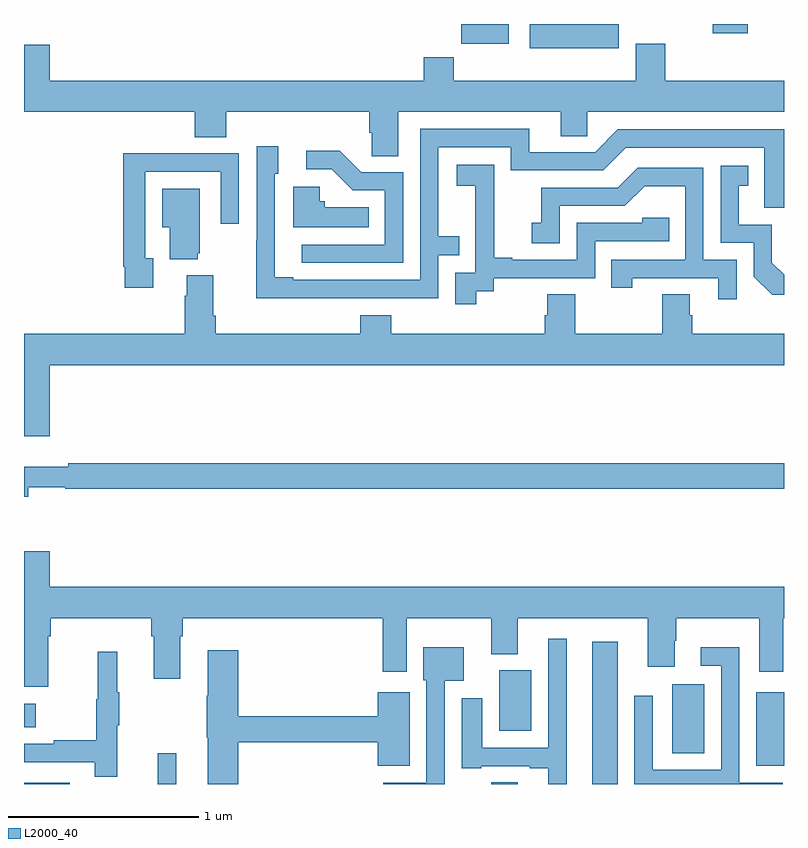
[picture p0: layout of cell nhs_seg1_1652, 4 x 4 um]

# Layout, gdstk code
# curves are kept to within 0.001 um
import gdstk
lib = gdstk.Library(unit=1e-6, precision=1e-09)
def R(c, l, rs):  # rectangles x0, y0, x1, y1
    for r in rs: c.add(gdstk.rectangle(r[:2], r[2:], *l))
def P(c, l, *ps):  # polygons
    for p in ps: c.add(gdstk.Polygon(p, *l))
L2000_40 = (2000, 40)

nhs_seg1_1652 = lib.new_cell('nhs_seg1_1652')
R(nhs_seg1_1652, L2000_40, [(201,544.199,201.24,544.206), (201.705,544.199,201.802,544.36), (203.459,544.199,203.599,544.208), (203.99,544.199,204.124,544.948), (204.854,544.295,205,544.681), (204.413,544.36,204.58,544.723), (203.501,544.478,203.671,544.798), (201,544.499,201.061,544.621), (203.661,548.072,204.13,548.199), (203.302,548.094,203.551,548.199), (204.626,548.151,204.809,548.199)])
P(nhs_seg1_1652, L2000_40, [(201.136,548.089),(201,548.089),(201,547.736),(201.899,547.736),(201.899,547.603),(202.064,547.603),(202.064,547.736),(202.817,547.736),(202.817,547.627),(202.83,547.627),(202.83,547.504),(202.969,547.504),(202.969,547.736),(203.825,547.736),(203.825,547.609),(203.964,547.609),(203.964,547.736),(205,547.736),(205,547.9),(204.374,547.9),(204.374,548.095),(204.221,548.095),(204.221,547.9),(203.261,547.9),(203.261,548.024),(203.105,548.024),(203.105,547.9),(201.136,547.9)],
  [(202.685,546.756),(203.181,546.756),(203.181,546.981),(203.291,546.981),(203.291,547.082),(203.181,547.082),(203.181,547.551),(203.562,547.551),(203.562,547.428),(204.048,547.428),(204.168,547.548),(204.897,547.548),(204.897,547.233),(205,547.233),(205,547.644),(204.126,547.644),(204.006,547.524),(203.659,547.524),(203.659,547.647),(203.085,547.647),(203.085,546.852),(202.417,546.852),(202.417,546.865),(202.32,546.865),(202.32,547.41),(202.339,547.41),(202.339,547.555),(202.224,547.555),(202.224,547.061),(202.222,547.061),(202.222,546.755)],
  [(202.995,547.419),(202.776,547.419),(202.663,547.532),(202.485,547.532),(202.485,547.434),(202.619,547.434),(202.73,547.323),(202.899,547.323),(202.899,547.038),(202.461,547.038),(202.461,546.942),(202.995,546.942)],
  [(201.679,546.966),(201.639,546.966),(201.639,547.422),(202.035,547.422),(202.035,547.149),(202.131,547.149),(202.131,547.518),(201.815,547.518),(201.815,547.52),(201.523,547.52),(201.523,546.922),(201.531,546.922),(201.531,546.81),(201.679,546.81)],
  [(203.38,546.793),(203.472,546.793),(203.472,546.861),(204.006,546.861),(204.006,547.056),(204.395,547.056),(204.395,547.179),(204.255,547.179),(204.255,547.152),(203.91,547.152),(203.91,546.957),(203.569,546.957),(203.569,546.97),(203.474,546.97),(203.474,547.253),(203.475,547.253),(203.475,547.459),(203.277,547.459),(203.277,547.349),(203.375,547.349),(203.375,547.121),(203.376,547.121),(203.376,546.891),(203.271,546.891),(203.271,546.723),(203.38,546.723)],
  [(205,546.878),(204.936,546.942),(204.936,547.143),(204.763,547.143),(204.763,547.347),(204.812,547.347),(204.812,547.453),(204.666,547.453),(204.666,547.047),(204.84,547.047),(204.84,546.87),(204.938,546.773),(205,546.773)],
  [(204.75,546.957),(204.576,546.957),(204.576,547.443),(204.23,547.443),(204.125,547.338),(203.722,547.338),(203.722,547.153),(203.673,547.153),(203.673,547.044),(203.82,547.044),(203.82,547.242),(204.162,547.242),(204.266,547.346),(204.48,547.346),(204.48,546.957),(204.091,546.957),(204.091,546.81),(204.202,546.81),(204.202,546.861),(204.653,546.861),(204.653,546.75),(204.75,546.75)],
  [(202.814,547.234),(202.584,547.234),(202.584,547.266),(202.557,547.266),(202.557,547.342),(202.418,547.342),(202.418,547.13),(202.814,547.13)],
  [(201.914,546.993),(201.925,546.993),(201.925,547.333),(201.728,547.333),(201.728,547.13),(201.767,547.13),(201.767,546.962),(201.914,546.962)],
  [(201.136,546.404),(205,546.404),(205,546.568),(204.518,546.568),(204.518,546.666),(204.505,546.666),(204.505,546.776),(204.358,546.776),(204.358,546.568),(203.901,546.568),(203.901,546.776),(203.753,546.776),(203.753,546.666),(203.741,546.666),(203.741,546.568),(202.934,546.568),(202.934,546.667),(202.769,546.667),(202.769,546.568),(202.01,546.568),(202.01,546.664),(201.997,546.664),(201.997,546.877),(201.857,546.877),(201.857,546.77),(201.845,546.77),(201.845,546.568),(201,546.568),(201,546.03),(201.136,546.03)],
  [(201.022,545.76),(201.218,545.76),(201.218,545.752),(205,545.752),(205,545.888),(201.232,545.888),(201.232,545.869),(201,545.869),(201,545.71),(201.022,545.71)],
  [(201.136,545.425),(201,545.425),(201,544.71),(201.127,544.71),(201.127,544.976),(201.14,544.976),(201.14,545.072),(201.671,545.072),(201.671,544.976),(201.683,544.976),(201.683,544.752),(201.823,544.752),(201.823,544.976),(201.836,544.976),(201.836,545.072),(202.889,545.072),(202.889,544.791),(203.014,544.791),(203.014,545.072),(203.459,545.072),(203.459,544.883),(203.599,544.883),(203.599,545.072),(204.284,545.072),(204.284,544.815),(204.424,544.815),(204.424,544.952),(204.432,544.952),(204.432,545.072),(204.869,545.072),(204.869,544.791),(204.995,544.791),(204.995,545.072),(205,545.072),(205,545.236),(201.136,545.236)],
  [(203.857,544.963),(203.76,544.963),(203.76,544.389),(203.413,544.389),(203.413,544.651),(203.303,544.651),(203.303,544.281),(203.407,544.281),(203.407,544.293),(203.663,544.293),(203.663,544.281),(203.759,544.281),(203.759,544.199),(203.857,544.199)],
  [(204.994,544.206),(204.765,544.206),(204.765,544.918),(204.561,544.918),(204.561,544.821),(204.669,544.821),(204.669,544.275),(204.309,544.275),(204.309,544.663),(204.213,544.663),(204.213,544.199),(204.994,544.199)],
  [(203.214,544.742),(203.314,544.742),(203.314,544.918),(203.102,544.918),(203.102,544.746),(203.118,544.746),(203.118,544.206),(202.89,544.206),(202.89,544.199),(203.214,544.199)],
  [(202.127,544.42),(202.862,544.42),(202.862,544.295),(203.029,544.295),(203.029,544.681),(202.862,544.681),(202.862,544.556),(202.127,544.556),(202.127,544.903),(201.968,544.903),(201.968,544.664),(201.961,544.664),(201.961,544.443),(201.968,544.443),(201.968,544.199),(202.127,544.199)],
  [(201.491,544.507),(201.502,544.507),(201.502,544.681),(201.491,544.681),(201.491,544.894),(201.388,544.894),(201.388,544.644),(201.381,544.644),(201.381,544.43),(201.157,544.43),(201.157,544.41),(201,544.41),(201,544.314),(201.373,544.314),(201.373,544.236),(201.491,544.236)])

lib.write_gds('nhs_seg1_1652.gds')
